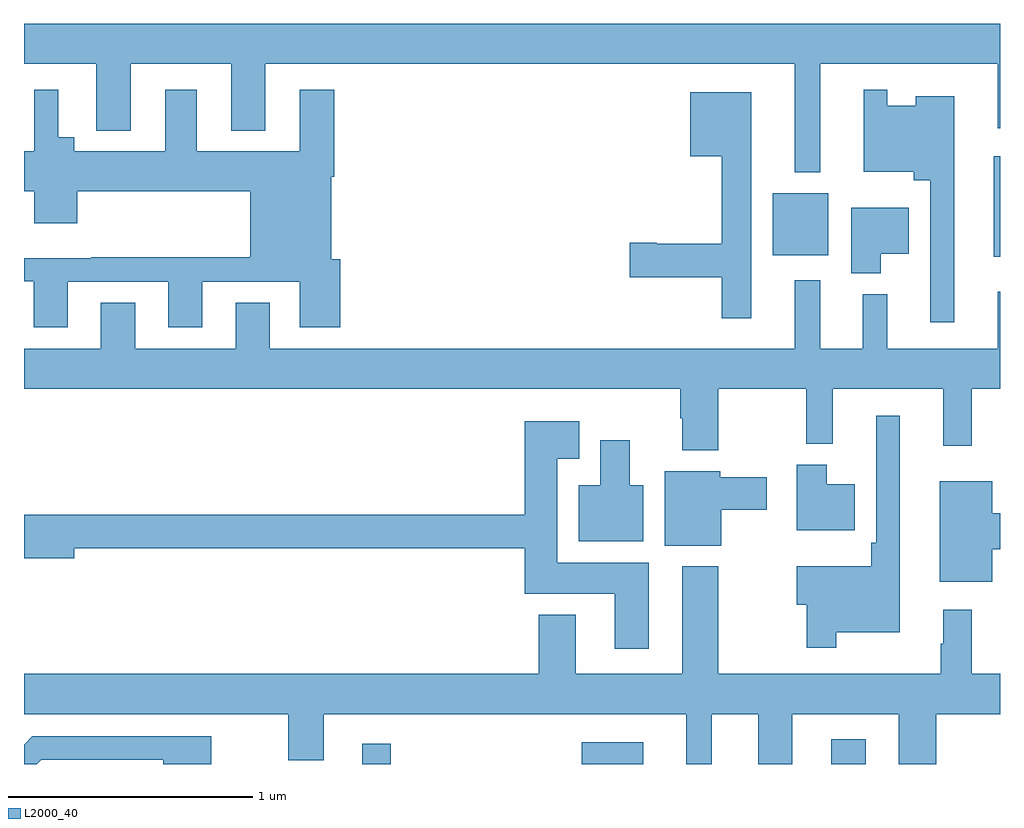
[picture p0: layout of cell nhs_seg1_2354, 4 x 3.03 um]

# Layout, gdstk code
import gdstk
lib = gdstk.Library(unit=1e-6, precision=1e-09)
def R(c, l, rs):  # rectangles x0, y0, x1, y1
    for r in rs: c.add(gdstk.rectangle(r[:2], r[2:], *l))
def P(c, l, *ps):  # polygons
    for p in ps: c.add(gdstk.Polygon(p, *l))
L2000_40 = (2000, 40)

nhs_seg1_2354 = lib.new_cell('nhs_seg1_2354')
R(nhs_seg1_2354, L2000_40, [(240.386,546.199,240.503,546.283), (241.286,546.199,241.537,546.289), (242.309,546.199,242.449,546.301), (242.975,548.279,243,548.689), (242.069,548.285,242.296,548.539)])
P(nhs_seg1_2354, L2000_40, [(242.263,549.068),(242.99,549.068),(242.99,548.805),(243,548.805),(243,549.232),(239,549.232),(239,549.068),(239.297,549.068),(239.297,548.795),(239.437,548.795),(239.437,549.068),(239.849,549.068),(239.849,548.795),(239.989,548.795),(239.989,549.068),(242.159,549.068),(242.159,548.624),(242.263,548.624)],
  [(242.812,548.935),(242.654,548.935),(242.654,548.896),(242.538,548.896),(242.538,548.962),(242.442,548.962),(242.442,548.627),(242.647,548.627),(242.647,548.591),(242.715,548.591),(242.715,548.01),(242.812,548.01)],
  [(239.179,548.175),(239.591,548.175),(239.591,547.989),(239.731,547.989),(239.731,548.175),(240.131,548.175),(240.131,547.989),(240.296,547.989),(240.296,548.268),(240.259,548.268),(240.259,548.606),(240.272,548.606),(240.272,548.962),(240.131,548.962),(240.131,548.71),(239.707,548.71),(239.707,548.962),(239.579,548.962),(239.579,548.71),(239.206,548.71),(239.206,548.767),(239.14,548.767),(239.14,548.962),(239.042,548.962),(239.042,548.71),(239,548.71),(239,548.546),(239.041,548.546),(239.041,548.415),(239.219,548.415),(239.219,548.546),(239.927,548.546),(239.927,548.276),(239.275,548.276),(239.275,548.272),(239,548.272),(239,548.178),(239.039,548.178),(239.039,547.989),(239.179,547.989)],
  [(241.981,548.953),(241.73,548.953),(241.73,548.69),(241.86,548.69),(241.86,548.331),(241.594,548.331),(241.594,548.336),(241.482,548.336),(241.482,548.194),(241.86,548.194),(241.86,548.025),(241.981,548.025)],
  [(242.512,548.291),(242.626,548.291),(242.626,548.479),(242.39,548.479),(242.39,548.21),(242.512,548.21)],
  [(243,548.134),(242.99,548.134),(242.99,547.9),(242.537,547.9),(242.537,548.125),(242.438,548.125),(242.438,547.9),(242.263,547.9),(242.263,548.182),(242.159,548.182),(242.159,547.9),(240.007,547.9),(240.007,548.09),(239.867,548.09),(239.867,547.9),(239.455,547.9),(239.455,548.09),(239.315,548.09),(239.315,547.9),(239,547.9),(239,547.736),(241.69,547.736),(241.69,547.616),(241.697,547.616),(241.697,547.484),(241.845,547.484),(241.845,547.736),(242.205,547.736),(242.205,547.511),(242.315,547.511),(242.315,547.736),(242.768,547.736),(242.768,547.503),(242.885,547.503),(242.885,547.736),(243,547.736)],
  [(242.329,546.74),(242.59,546.74),(242.59,547.627),(242.493,547.627),(242.493,547.105),(242.473,547.105),(242.473,547.009),(242.166,547.009),(242.166,546.851),(242.208,546.851),(242.208,546.675),(242.329,546.675)],
  [(241.561,547.024),(241.186,547.024),(241.186,547.451),(241.276,547.451),(241.276,547.603),(241.052,547.603),(241.052,547.22),(239,547.22),(239,547.042),(239.206,547.042),(239.206,547.084),(241.052,547.084),(241.052,546.896),(241.421,546.896),(241.421,546.672),(241.561,546.672)],
  [(241.537,547.342),(241.483,547.342),(241.483,547.525),(241.361,547.525),(241.361,547.342),(241.274,547.342),(241.274,547.112),(241.537,547.112)],
  [(242.404,547.345),(242.29,547.345),(242.29,547.426),(242.168,547.426),(242.168,547.157),(242.404,547.157)],
  [(241.858,547.241),(242.044,547.241),(242.044,547.375),(241.854,547.375),(241.854,547.399),(241.625,547.399),(241.625,547.094),(241.858,547.094)],
  [(242.968,547.079),(243,547.079),(243,547.226),(242.968,547.226),(242.968,547.357),(242.753,547.357),(242.753,546.947),(242.968,546.947)],
  [(241.819,546.404),(242.009,546.404),(242.009,546.199),(242.149,546.199),(242.149,546.404),(242.585,546.404),(242.585,546.199),(242.738,546.199),(242.738,546.404),(243,546.404),(243,546.568),(242.885,546.568),(242.885,546.832),(242.768,546.832),(242.768,546.692),(242.757,546.692),(242.757,546.568),(241.845,546.568),(241.845,547.009),(241.697,547.009),(241.697,546.568),(241.261,546.568),(241.261,546.811),(241.109,546.811),(241.109,546.568),(239,546.568),(239,546.404),(240.082,546.404),(240.082,546.214),(240.229,546.214),(240.229,546.404),(241.715,546.404),(241.715,546.199),(241.819,546.199)],
  [(239.07,546.216),(239.57,546.216),(239.57,546.199),(239.768,546.199),(239.768,546.312),(239.034,546.312),(239,546.278),(239,546.199),(239.053,546.199)])

lib.write_gds('nhs_seg1_2354.gds')
